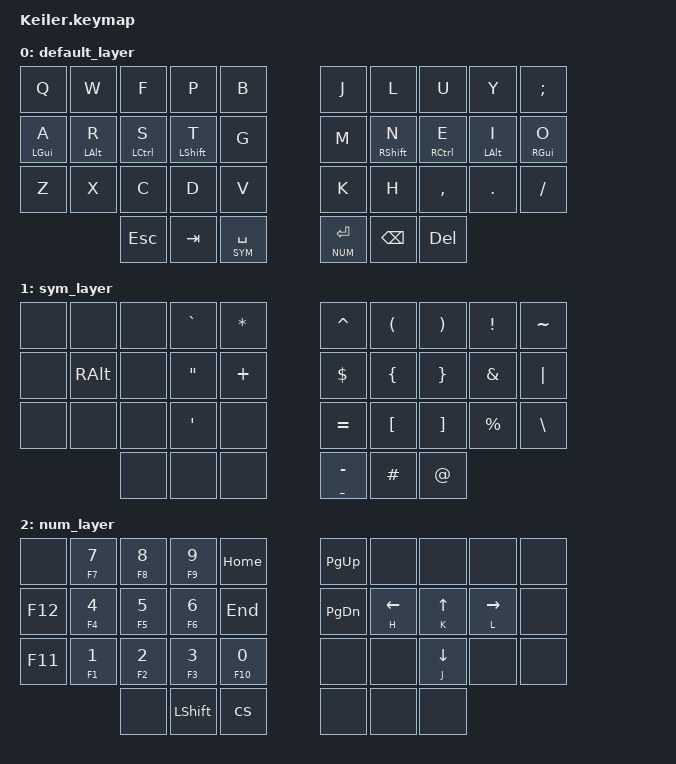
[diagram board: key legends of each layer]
// Copyright (c) 2022 The ZMK Contributors
// SPDX-License-Identifier: MIT

#include <behaviors.dtsi>
#include <dt-bindings/zmk/keys.h>
#include <dt-bindings/zmk/bt.h>
#include <dt-bindings/zmk/outputs.h>

#define SYM 1
#define NUM 2



&caps_word {
    continue-list = <ESC>;
};



/ {
    
// ╭──────────────╮ ╭──────────────╮
// │ 0  1  2  3  4│ │ 5  6  7  8  9│
// │10 11 12 13 14│ │15 16 17 18 19│
// │20 21 22 23 24│ │25 26 27 28 29│
// ╰─────╮30 31 32│ │33 34 35╭─────╯
//       ╰────────╯ ╰────────╯

    combos {
        compatible = "zmk,combos";

        combo_caps {
            layers = <0>;
            timeout-ms = <75>;
            require-prior-idle-ms = <100>;
            key-positions = <14 15>;
            bindings = <&caps_word>;
        };
    };

    behaviors {
        ht: hold_tap {
            compatible = "zmk,behavior-hold-tap";
            #binding-cells = <2>;
            flavor = "tap-preferred";
            tapping-term-ms = <180>;
            require-prior-idle-ms = <150>;
            bindings = <&kp>, <&kp>;
        };

        lp: layer_press {
            compatible = "zmk,behavior-hold-tap";
            #binding-cells = <2>;
            flavor = "hold-preferred";
            tapping-term-ms = <200>;
            require-prior-idle-ms = <90>;
            // retro-tap;
            bindings = <&mo>, <&kp>;
        };

        mp: mod_press {
            compatible = "zmk,behavior-hold-tap";
            #binding-cells = <2>;
            flavor = "tap-preferred";
            tapping-term-ms = <200>;
            require-prior-idle-ms = <125>;
            bindings = <&kp>, <&kp>;
        };

        cs: ctrl_shift {
            compatible = "zmk,behavior-tap-dance";
            #binding-cells = <0>;
            tapping-term-ms = <200>;
            bindings = <&kp LCTRL>, <&kp LC(LSHFT)>;
        };
    };

    keymap {
        compatible = "zmk,keymap";
        default_layer {
            bindings = <
        //╭──────────┬──────────┬──────────┬──────────┬──────────╮          ╭──────────┬──────────┬──────────┬──────────┬──────────╮
        //│  Q       │  W       │  F       │  P       │  B       │          │  J       │  L       │  U       │  Y       │  ;       │
            &kp Q      &kp W      &kp F      &kp P      &kp B                 &kp J      &kp L      &kp U      &kp Y      &kp SEMI
        //├──────────┼──────────┼──────────┼──────────┼──────────┤          ├──────────┼──────────┼──────────┼──────────┼──────────┤
        //│  A       │  R       │  S       │  T       │  G       │          │  M       │  N       │  E       │  I       │   O      │
           &ht LGUI A &ht LALT R &ht LCTRL S &ht LSHFT T &kp G                &kp M    &ht RSHFT N &ht RCTRL E &ht LALT I &ht RGUI O
        //├──────────┼──────────┼──────────┼──────────┼──────────┤          ├──────────┼──────────┼──────────┼──────────┼──────────┤
        //│  Z       │  X       │  C       │  D       │  V       │          │  K       │  H       │ , <      │ . >      │ / ?      │
            &kp Z      &kp X      &kp C      &kp D      &kp V                 &kp K      &kp H      &kp COMMA  &kp DOT    &kp FSLH
        //╰──────────┴──────────┴──────────┼──────────┼──────────┤          ├──────────┼──────────┼──────────┴──────────┴──────────╯
                                  &kp ESC    &kp TAB    &lp SYM SPACE    &lp NUM RET     &kp BSPC   &kp DEL
        //                      ╰──────────┴──────────┴──────────╯          ╰──────────┴──────────┴──────────╯
        >;
        };

        sym_layer {
            bindings = <
        //╭──────────┬──────────┬──────────┬──────────┬──────────╮          ╭──────────┬──────────┬──────────┬──────────┬──────────╮
        //│          │          │          │    `     │          │          │    ^     │    (     │    )     │    !     │    ~     │
            &none      &none      &none      &kp GRAVE  &kp STAR              &kp CARET  &kp LPAR   &kp RPAR   &kp EXCL   &kp TILDE
        //├──────────┼──────────┼──────────┼──────────┼──────────┤          ├──────────┼──────────┼──────────┼──────────┼──────────┤
        //│          │          │          │    "     │          │          │    $     │    {     │    }     │    &     │    |     │
            &none      &kp RALT   &none      &kp DQT    &kp PLUS              &kp DLLR   &kp LBRC   &kp RBRC   &kp AMPS   &kp PIPE
        //├──────────┼──────────┼──────────┼──────────┼──────────┤          ├──────────┼──────────┼──────────┼──────────┼──────────┤
        //│          │          │          │    '     │          │          │    =     │    [     │    ]     │    %     │    \     │
            &none      &none      &none      &kp SQT    &none                 &kp EQUAL  &kp LBKT   &kp RBKT   &kp PRCNT  &kp BSLH
        //╰──────────┴──────────┴──────────┼──────────┼──────────┤          ├──────────┼──────────┼──────────┴──────────┴──────────╯
        //                      │          │          │          │          │    -_    │    #     │    @     │ 
                                  &none      &none      &none            &mp UNDER MINUS &kp HASH   &kp AT
        //                      ╰──────────┴──────────┴──────────╯          ╰──────────┴──────────┴──────────╯
            >;
        };

        num_layer {
            bindings = <
        //╭──────────┬──────────┬──────────┬──────────┬──────────╮          ╭──────────┬──────────┬──────────┬──────────┬──────────╮
        //│          │    7     │    8     │    9     │          │          │          │          │          │          │          │
          &none        &mp F7 N7  &mp F8 N8  &mp F9 N9  &kp HOME              &kp PG_UP  &none      &none      &none      &none
        //├──────────┼──────────┼──────────┼──────────┼──────────┤          ├──────────┼──────────┼──────────┼──────────┼──────────┤
        //│          │    4     │    5     │    6     │          │          │          │          │          │          │          │
          &kp F12      &mp F4 N4  &mp F5 N5  &mp F6 N6  &kp END               &kp PG_DN  &ht H LEFT &ht K UP   &ht L RIGHT &none
        //├──────────┼──────────┼──────────┼──────────┼──────────┤          ├──────────┼──────────┼──────────┼──────────┼──────────┤
        //│          │    1     │    2     │    3     │    0     │          │          │          │          │          │          │
          &kp F11      &mp F1 N1  &mp F2 N2  &mp F3 N3  &mp F10 N0            &none      &none      &ht J DOWN &none      &none
        //╰──────────┴──────────┴──────────┼──────────┼──────────┤          ├──────────┼──────────┼──────────┴──────────┴──────────╯
                                  &none      &kp LSHFT  &cs                   &none      &none      &none
        //                      ╰──────────┴──────────┴──────────╯          ╰──────────┴──────────┴──────────╯
            >;
        };

    };
};
